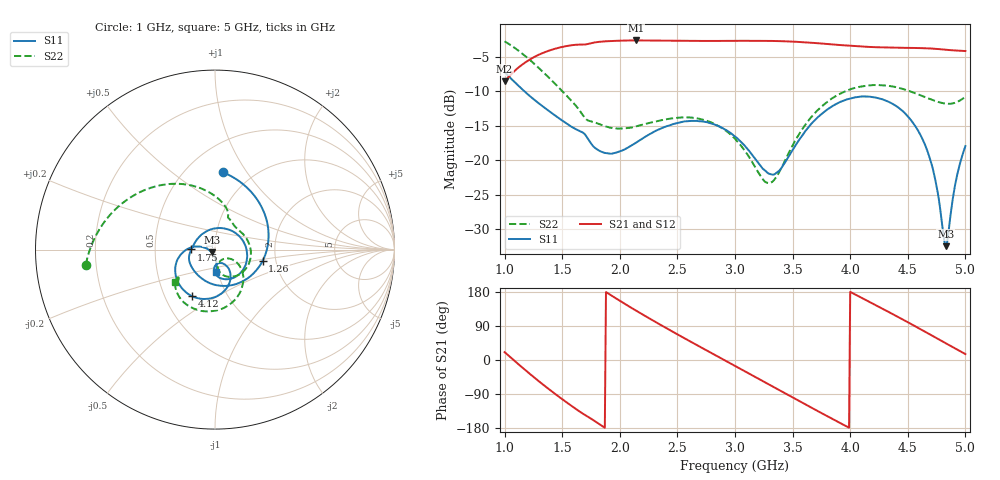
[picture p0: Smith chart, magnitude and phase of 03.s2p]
!Agilent Technologies,N5224A,MY51441093,A.09.90.21
!Agilent N5224A: A.09.90.21
!Date: Wednesday, October 01, 2025 16:36:35
!Correction: S11(Full 2 Port(1,2))
!S21(Full 2 Port(1,2))
!S12(Full 2 Port(1,2))
!S22(Full 2 Port(1,2))
!S2P File: Measurements: S11, S21, S12, S22:
# Hz S  dB  R 50
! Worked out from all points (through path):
!   401 points, 1 GHz to 5 GHz, reference 50 ohm
!   highest |S21| = -2.67 dB at 2.14 GHz (marker M1); lowest = -8.6 dB at 1 GHz (marker M2)
!   lowest |S11| = -32.4 dB at 4.83 GHz (marker M3), VSWR 1.05, Z = 48.2 - j1.53 ohm
!   |S11| at or under -10 dB: 1.17 GHz to end of sweep
!   |S22| runs from -23.3 to -2.8 dB; largest |S21 - S12| = 0.0035
!   S11 on the Smith chart (normalised r, x): 1 GHz: 0.74, +0.78; 1.26 GHz: 1.71, -0.23; 1.75 GHz: 0.77, +0.00; 4.12 GHz: 0.68, -0.39; 5 GHz: 0.98, -0.25
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1e9  -7.25 84.4  -8.59 20.8  -8.56 20.7  -2.80 -173.4
1.13e9  -9.38 35.2  -6.45 -13.8  -6.45 -13.8  -4.27 160.8
1.26e9  -11.28 -13.1  -5.04 -46.9  -5.03 -47.0  -6.08 136.1
1.46e9  -13.79 -80.6  -3.76 -94.4  -3.76 -94.4  -9.31 101.1
1.67e9  -15.91 -148.8  -3.26 -139.8  -3.26 -139.8  -13.26 70.5
1.75e9  -17.56 179.6  -3.06 -154.7  -3.05 -154.7  -14.37 67.1
1.93e9  -19.05 121.2  -2.74 169.6  -2.73 169.6  -15.32 51.2
2.14e9  -17.47 57.4  -2.67 130.5  -2.66 130.5  -15.10 32.4
2.34e9  -15.54 11.9  -2.68 95.1  -2.67 95.1  -14.29 8.9
2.51e9  -14.57 -19.0  -2.71 66.0  -2.70 66.1  -13.83 -13.3
2.7e9  -14.36 -48.3  -2.73 34.2  -2.72 34.2  -14.04 -39.1
3e9  -16.56 -85.0  -2.72 -15.4  -2.70 -15.4  -16.89 -74.2
3.31e9  -22.02 -77.2  -2.73 -66.9  -2.71 -66.9  -23.25 -53.6
3.49e9  -18.79 -54.5  -2.83 -97.0  -2.81 -97.0  -18.18 -29.7
3.67e9  -14.59 -62.7  -3.01 -126.9  -2.99 -126.9  -13.60 -41.6
3.89e9  -11.76 -86.8  -3.30 -162.7  -3.28 -162.7  -10.57 -66.5
4.12e9  -10.77 -116.3  -3.56 160.8  -3.54 160.6  -9.26 -93.8
4.34e9  -11.59 -145.9  -3.70 125.8  -3.67 125.5  -9.25 -117.6
4.65e9  -17.77 174.0  -3.79 74.6  -3.77 74.4  -10.86 -140.5
4.73e9  -22.15 168.4  -3.86 61.0  -3.84 60.8  -11.37 -142.8
4.83e9  -32.43 -138.4  -4.01 44.1  -3.99 43.9  -11.81 -142.9
5e9  -17.95 -86.9  -4.20 15.6  -4.18 15.4  -10.83 -140.6
